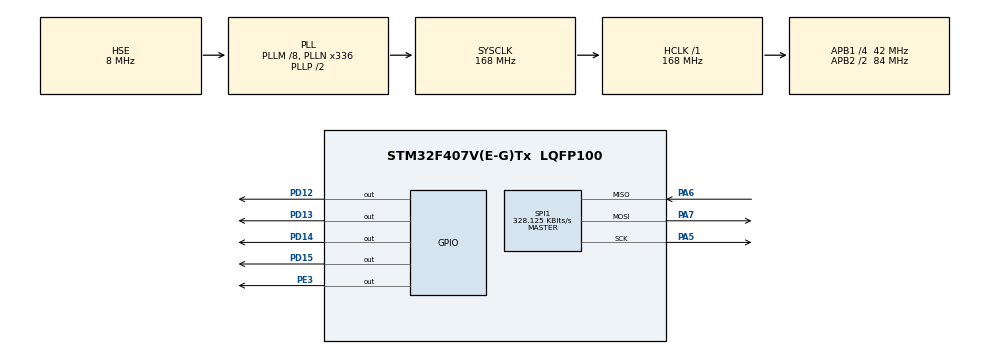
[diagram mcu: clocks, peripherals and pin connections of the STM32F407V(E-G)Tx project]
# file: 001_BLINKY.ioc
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Mcu.Family=STM32F4
Mcu.Name=STM32F407V(E-G)Tx
Mcu.Package=LQFP100
NVIC.PriorityGroup=NVIC_PRIORITYGROUP_0
NVIC.SPI1_IRQn=true\:0\:0\:false\:false\:true\:true\:true\:true
PA5.Mode=Full_Duplex_Master
PA5.Signal=SPI1_SCK
PA6.Mode=Full_Duplex_Master
PA6.Signal=SPI1_MISO
PA7.Mode=Full_Duplex_Master
PA7.Signal=SPI1_MOSI
PD12.Signal=GPIO_Output
PD13.Signal=GPIO_Output
PD14.Signal=GPIO_Output
PD15.Signal=GPIO_Output
PE3.GPIO_Speed=GPIO_SPEED_FREQ_HIGH
PE3.PinState=GPIO_PIN_SET
PE3.Signal=GPIO_Output
PH0-OSC_IN.Mode=HSE-External-Oscillator
PH0-OSC_IN.Signal=RCC_OSC_IN
PH1-OSC_OUT.Mode=HSE-External-Oscillator
PH1-OSC_OUT.Signal=RCC_OSC_OUT
ProjectManager.HeapSize=0x200
ProjectManager.StackSize=0x400
ProjectManager.TargetToolchain=STM32CubeIDE
RCC.48MHZClocksFreq_Value=48000000
RCC.AHBFreq_Value=168000000
RCC.APB1CLKDivider=RCC_HCLK_DIV4
RCC.APB1Freq_Value=42000000
RCC.APB1TimFreq_Value=84000000
RCC.APB2CLKDivider=RCC_HCLK_DIV2
RCC.APB2Freq_Value=84000000
RCC.APB2TimFreq_Value=168000000
RCC.CortexFreq_Value=168000000
RCC.HCLKFreq_Value=168000000
RCC.HSE_VALUE=8000000
RCC.HSI_VALUE=16000000
RCC.PLLM=8
RCC.PLLN=336
RCC.PLLQ=7
RCC.PLLSourceVirtual=RCC_PLLSOURCE_HSE
RCC.SYSCLKFreq_VALUE=168000000
RCC.SYSCLKSource=RCC_SYSCLKSOURCE_PLLCLK
RCC.VCOOutputFreq_Value=336000000
SPI1.BaudRatePrescaler=SPI_BAUDRATEPRESCALER_256
SPI1.CLKPhase=SPI_PHASE_2EDGE
SPI1.CLKPolarity=SPI_POLARITY_HIGH
SPI1.CalculateBaudRate=328.125 KBits/s
SPI1.Direction=SPI_DIRECTION_2LINES
SPI1.Mode=SPI_MODE_MASTER
SPI1.VirtualType=VM_MASTER
board=STM32F407G-DISC1

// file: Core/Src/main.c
/* USER CODE BEGIN Header */
/**
  ******************************************************************************
  * @file           : main.c
  * @brief          : Main program body
  ******************************************************************************
  * @attention
  *
  * Copyright (c) 2024 STMicroelectronics.
  * All rights reserved.
  *
  * This software is licensed under terms that can be found in the LICENSE file
  * in the root directory of this software component.
  * If no LICENSE file comes with this software, it is provided AS-IS.
  *
  ******************************************************************************
  */
/* USER CODE END Header */
#include "main.h"

/* USER CODE BEGIN PD */
typedef enum __bool
{
	FALSE = 0,
	TRUE = 1,
}bool;
typedef struct __lis3dsh
{
	uint8_t temperature;
	uint16_t X_Axis;
	uint16_t Y_Axis;
	uint16_t Z_Axis;
	int X_Axis_int;
	int Y_Axis_int;
	int Z_Axis_int;
}LIS3DSH_t;
/* USER CODE END PD */

SPI_HandleTypeDef hspi1;

/* USER CODE BEGIN PV */
uint8_t TxData[1] = {0x8F};
uint8_t RxData[1] = {0x00};
LIS3DSH_t LIS3DSH_Data;
/* USER CODE END PV */

void SystemClock_Config(void);
static void MX_GPIO_Init(void);
static void MX_SPI1_Init(void);

/* USER CODE BEGIN 0 */
#define LIS3DSH_REG_ADR_INFO1				0x0D
#define LIS3DSH_REG_ADR_INFO2				0x0E
#define LIS3DSH_REG_ADR_WHO_AM_I			0x0F

#define LIS3DSH_REG_VAL_INFO1				0x21
#define LIS3DSH_REG_VAL_INFO2				0x00
#define LIS3DSH_REG_VAL_WHO_AM_I			0x3F

#define LIS3DSH_REG_ADR_OUT_TEMPERATURE		0x0C
#define LIS3DSH_REG_ADR_CTRL_REG4			0x20

#define LIS3DSH_REG_ADR_OUT_X_LOW_BYTE		0x28
#define LIS3DSH_REG_ADR_OUT_X_HIGH_BYTE		0x29

#define LIS3DSH_REG_ADR_CTRL_REG5			0x24

#define LIS3DSH_REG_ADR_OUT_Y_LOW_BYTE		0x2A
#define LIS3DSH_REG_ADR_OUT_Y_HIGH_BYTE		0x2B

#define LIS3DSH_REG_ADR_OUT_Z_LOW_BYTE		0x2C
#define LIS3DSH_REG_ADR_OUT_Z_HIGH_BYTE		0x2D

#define SENS_2G_RANGE_MG_PER_DIGIT			((float)0.06)
#define LED_TH_MG							(1000)

void readRegister(uint8_t registerAddress, uint8_t *readBuffer, uint8_t readByteCount)
{
	uint8_t readAddres = registerAddress + 0x80;
	HAL_GPIO_WritePin(GPIOE, GPIO_PIN_3, GPIO_PIN_RESET);
	HAL_SPI_Transmit(&hspi1, (uint8_t *)&readAddres, 1, 1);
	HAL_SPI_Receive(&hspi1, (uint8_t *)readBuffer, readByteCount, 1);
	HAL_GPIO_WritePin(GPIOE, GPIO_PIN_3, GPIO_PIN_SET);
}
void writeRegister(uint8_t registerAddress, uint8_t *data, uint8_t dataCount)
{
	if(dataCount == 1)
	{
		uint8_t writeAdress = registerAddress;
		uint8_t readedData[0] = {0x00};
		HAL_GPIO_WritePin(GPIOE, GPIO_PIN_3, GPIO_PIN_RESET);
		HAL_SPI_Transmit(&hspi1, (uint8_t *)&writeAdress, 1, 1);
		HAL_SPI_Transmit(&hspi1, (uint8_t *)data, dataCount, 1);
		HAL_GPIO_WritePin(GPIOE, GPIO_PIN_3, GPIO_PIN_SET);

		readRegister(registerAddress, &RxData[0], 1);

	}
}
void enableALLAxis()
{
	uint8_t data = 0x17;
	writeRegister(LIS3DSH_REG_ADR_CTRL_REG4, &data, 1);
}
bool LIS3DSH_Init()
{
	uint8_t readedData[1] = {0x00};
	bool status = FALSE;
	while(status != TRUE)
	{
		readRegister(LIS3DSH_REG_ADR_WHO_AM_I, &readedData[0], 1);
		if(readedData[0] != LIS3DSH_REG_VAL_WHO_AM_I)
			status = FALSE;
		else
			status = TRUE;
		HAL_Delay(1);

		readRegister(LIS3DSH_REG_ADR_INFO1, &readedData[0], 1);
		if(readedData[0] != LIS3DSH_REG_VAL_INFO1)
			status = FALSE;
		else
			status = TRUE;
		HAL_Delay(1);

		readRegister(LIS3DSH_REG_ADR_INFO2, &readedData[0], 1);
		if(readedData[0] != LIS3DSH_REG_VAL_INFO2)
			status = FALSE;
		else
			status = TRUE;
		HAL_Delay(1);
	}
	return status;
}
void readTemperature()
{
	// Maybe doesnt work correctly
	// TODO : Check if it works correctly
	uint8_t readedData[1] = {0x00};
	readRegister(LIS3DSH_REG_ADR_OUT_TEMPERATURE, &readedData[0], 1);
	LIS3DSH_Data.temperature = readedData[0];
}
void readX_Axis()
{
	uint8_t readedData[1] = {0x00};
	LIS3DSH_Data.X_Axis = 0x0;

	readRegister(LIS3DSH_REG_ADR_OUT_X_LOW_BYTE, &readedData[0], 1);
	LIS3DSH_Data.X_Axis = readedData[0];

	readRegister(LIS3DSH_REG_ADR_OUT_X_HIGH_BYTE, &readedData[0], 1);
	LIS3DSH_Data.X_Axis = LIS3DSH_Data.X_Axis + (readedData[0] << 8);

}
void readY_Axis()
{
	uint8_t readedData[1] = {0x00};
	LIS3DSH_Data.Y_Axis = 0x0;

	readRegister(LIS3DSH_REG_ADR_OUT_Y_LOW_BYTE, &readedData[0], 1);
	LIS3DSH_Data.Y_Axis = readedData[0];

	readRegister(LIS3DSH_REG_ADR_OUT_Y_HIGH_BYTE, &readedData[0], 1);
	LIS3DSH_Data.Y_Axis = LIS3DSH_Data.Y_Axis + (readedData[0] << 8);

}
void readZ_Axis()
{
	uint8_t readedData[1] = {0x00};
	LIS3DSH_Data.Z_Axis = 0x0;

	readRegister(LIS3DSH_REG_ADR_OUT_Z_LOW_BYTE, &readedData[0], 1);
	LIS3DSH_Data.Z_Axis = readedData[0];

	readRegister(LIS3DSH_REG_ADR_OUT_Z_HIGH_BYTE, &readedData[0], 1);
	LIS3DSH_Data.Z_Axis = LIS3DSH_Data.Z_Axis + (readedData[0] << 8);

}
void setCTRL5()
{
	uint8_t data = 0x00;
	writeRegister(LIS3DSH_REG_ADR_CTRL_REG5, &data, 1);
}
static inline int twoComplToInt16(int twoComplValue)
{
	int int16Value = 0;

	/* conversion */
	if(twoComplValue > 32768)
	{
		int16Value = -(((~twoComplValue) & 0xFFFF) + 1);
	}
	else
	{
		int16Value = twoComplValue;
	}

	return int16Value;
}
void calculate()
{
	LIS3DSH_Data.X_Axis_int = twoComplToInt16(LIS3DSH_Data.X_Axis);
	LIS3DSH_Data.X_Axis_int *= SENS_2G_RANGE_MG_PER_DIGIT;

	LIS3DSH_Data.Y_Axis_int = twoComplToInt16(LIS3DSH_Data.Y_Axis);
	LIS3DSH_Data.Y_Axis_int *= SENS_2G_RANGE_MG_PER_DIGIT;

	LIS3DSH_Data.Z_Axis_int = twoComplToInt16(LIS3DSH_Data.Z_Axis);
	LIS3DSH_Data.Z_Axis_int *= SENS_2G_RANGE_MG_PER_DIGIT;
}
/* USER CODE END 0 */

int main(void)
{

  /* MCU Configuration--------------------------------------------------------*/

  /* Reset of all peripherals, Initializes the Flash interface and the Systick. */
  HAL_Init();

  /* Configure the system clock */
  SystemClock_Config();

  /* Initialize all configured peripherals */
  MX_GPIO_Init();
  MX_SPI1_Init();
  /* USER CODE BEGIN 2 */
  HAL_Delay(1000);
  if(LIS3DSH_Init() == TRUE)
	  HAL_GPIO_WritePin(GPIOD, GPIO_PIN_12, GPIO_PIN_SET);
  else
	  HAL_GPIO_WritePin(GPIOD, GPIO_PIN_12, GPIO_PIN_RESET);
  enableALLAxis();
  setCTRL5();
  /* USER CODE END 2 */

  /* Infinite loop */
  while (1)
  {

    /* USER CODE BEGIN 3 */
	  readTemperature();
	  readX_Axis();
	  readY_Axis();
	  readZ_Axis();
	  calculate();
	  HAL_Delay(100);
//	  readRegister(LIS3DSH_REG_ADR_INFO1, &RxData[0], 1);
//	  HAL_Delay(5000);
//	  readRegister(LIS3DSH_REG_ADR_INFO2, &RxData[0], 1);
//	  HAL_Delay(5000);
//	  readRegister(LIS3DSH_REG_ADR_WHO_AM_I, &RxData[0], 1);
//	  HAL_Delay(5000);
  }
  /* USER CODE END 3 */
}

void SystemClock_Config(void)
{
  RCC_OscInitTypeDef RCC_OscInitStruct = {0};
  RCC_ClkInitTypeDef RCC_ClkInitStruct = {0};

  /** Configure the main internal regulator output voltage
  */
  __HAL_RCC_PWR_CLK_ENABLE();
  __HAL_PWR_VOLTAGESCALING_CONFIG(PWR_REGULATOR_VOLTAGE_SCALE1);

  /** Initializes the RCC Oscillators according to the specified parameters
  * in the RCC_OscInitTypeDef structure.
  */
  RCC_OscInitStruct.OscillatorType = RCC_OSCILLATORTYPE_HSE;
  RCC_OscInitStruct.HSEState = RCC_HSE_ON;
  RCC_OscInitStruct.PLL.PLLState = RCC_PLL_ON;
  RCC_OscInitStruct.PLL.PLLSource = RCC_PLLSOURCE_HSE;
  RCC_OscInitStruct.PLL.PLLM = 8;
  RCC_OscInitStruct.PLL.PLLN = 336;
  RCC_OscInitStruct.PLL.PLLP = RCC_PLLP_DIV2;
  RCC_OscInitStruct.PLL.PLLQ = 7;
  if (HAL_RCC_OscConfig(&RCC_OscInitStruct) != HAL_OK)
  {
    Error_Handler();
  }

  /** Initializes the CPU, AHB and APB buses clocks
  */
  RCC_ClkInitStruct.ClockType = RCC_CLOCKTYPE_HCLK|RCC_CLOCKTYPE_SYSCLK
                              |RCC_CLOCKTYPE_PCLK1|RCC_CLOCKTYPE_PCLK2;
  RCC_ClkInitStruct.SYSCLKSource = RCC_SYSCLKSOURCE_PLLCLK;
  RCC_ClkInitStruct.AHBCLKDivider = RCC_SYSCLK_DIV1;
  RCC_ClkInitStruct.APB1CLKDivider = RCC_HCLK_DIV4;
  RCC_ClkInitStruct.APB2CLKDivider = RCC_HCLK_DIV2;

  if (HAL_RCC_ClockConfig(&RCC_ClkInitStruct, FLASH_LATENCY_5) != HAL_OK)
  {
    Error_Handler();
  }
}

static void MX_SPI1_Init(void)
{

  /* SPI1 parameter configuration*/
  hspi1.Instance = SPI1;
  hspi1.Init.Mode = SPI_MODE_MASTER;
  hspi1.Init.Direction = SPI_DIRECTION_2LINES;
  hspi1.Init.DataSize = SPI_DATASIZE_8BIT;
  hspi1.Init.CLKPolarity = SPI_POLARITY_HIGH;
  hspi1.Init.CLKPhase = SPI_PHASE_2EDGE;
  hspi1.Init.NSS = SPI_NSS_SOFT;
  hspi1.Init.BaudRatePrescaler = SPI_BAUDRATEPRESCALER_256;
  hspi1.Init.FirstBit = SPI_FIRSTBIT_MSB;
  hspi1.Init.TIMode = SPI_TIMODE_DISABLE;
  hspi1.Init.CRCCalculation = SPI_CRCCALCULATION_DISABLE;
  hspi1.Init.CRCPolynomial = 10;
  if (HAL_SPI_Init(&hspi1) != HAL_OK)
  {
    Error_Handler();
  }

}

static void MX_GPIO_Init(void)
{
  GPIO_InitTypeDef GPIO_InitStruct = {0};

  /* GPIO Ports Clock Enable */
  __HAL_RCC_GPIOE_CLK_ENABLE();
  __HAL_RCC_GPIOH_CLK_ENABLE();
  __HAL_RCC_GPIOA_CLK_ENABLE();
  __HAL_RCC_GPIOD_CLK_ENABLE();

  /*Configure GPIO pin Output Level */
  HAL_GPIO_WritePin(GPIOE, GPIO_PIN_3, GPIO_PIN_SET);

  /*Configure GPIO pin Output Level */
  HAL_GPIO_WritePin(GPIOD, GPIO_PIN_12|GPIO_PIN_13|GPIO_PIN_14|GPIO_PIN_15, GPIO_PIN_RESET);

  /*Configure GPIO pin : PE3 */
  GPIO_InitStruct.Pin = GPIO_PIN_3;
  GPIO_InitStruct.Mode = GPIO_MODE_OUTPUT_PP;
  GPIO_InitStruct.Pull = GPIO_NOPULL;
  GPIO_InitStruct.Speed = GPIO_SPEED_FREQ_HIGH;
  HAL_GPIO_Init(GPIOE, &GPIO_InitStruct);

  /*Configure GPIO pins : PD12 PD13 PD14 PD15 */
  GPIO_InitStruct.Pin = GPIO_PIN_12|GPIO_PIN_13|GPIO_PIN_14|GPIO_PIN_15;
  GPIO_InitStruct.Mode = GPIO_MODE_OUTPUT_PP;
  GPIO_InitStruct.Pull = GPIO_NOPULL;
  GPIO_InitStruct.Speed = GPIO_SPEED_FREQ_LOW;
  HAL_GPIO_Init(GPIOD, &GPIO_InitStruct);

}

void Error_Handler(void)
{
  __disable_irq();
  while (1)
  {
  }
}
